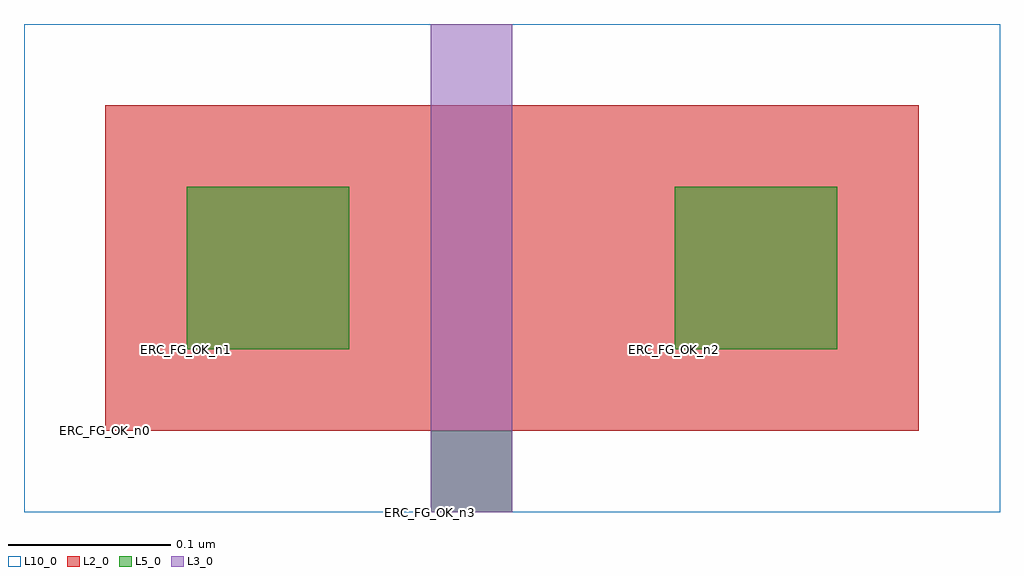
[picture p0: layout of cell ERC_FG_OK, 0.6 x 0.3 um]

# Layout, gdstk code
import gdstk
lib = gdstk.Library(unit=1e-6, precision=1e-09)
def R(c, l, rs):  # rectangles x0, y0, x1, y1
    for r in rs: c.add(gdstk.rectangle(r[:2], r[2:], *l))
L2_0 = (2, 0)
L3_0 = (3, 0)
L5_0 = (5, 0)
L10_0 = (10, 0)

erc_fg_ok = lib.new_cell('ERC_FG_OK')
R(erc_fg_ok, L2_0, [(0,0,0.5,0.2)])
R(erc_fg_ok, L3_0, [(0.2,-0.05,0.25,0.25)])
R(erc_fg_ok, L5_0, [(0.2,-0.05,0.25,0), (0.05,0.05,0.15,0.15), (0.35,0.05,0.45,0.15)])
R(erc_fg_ok, L10_0, [(-0.05,-0.05,0.55,0.25)])
erc_fg_ok.add(gdstk.Label('ERC_FG_OK_n0', (0,0), layer=2, texttype=5))
erc_fg_ok.add(gdstk.Label('ERC_FG_OK_n1', (0.05,0.05), layer=5, texttype=5))
erc_fg_ok.add(gdstk.Label('ERC_FG_OK_n2', (0.35,0.05), layer=5, texttype=5))
erc_fg_ok.add(gdstk.Label('ERC_FG_OK_n3', (0.2,-0.05), layer=5, texttype=5))
erc_fg_ok.add(gdstk.Label('ERC_FG_OK_n4', (0.2,-0.05), layer=3, texttype=5))

lib.write_gds('ERC_FG_OK.gds')
